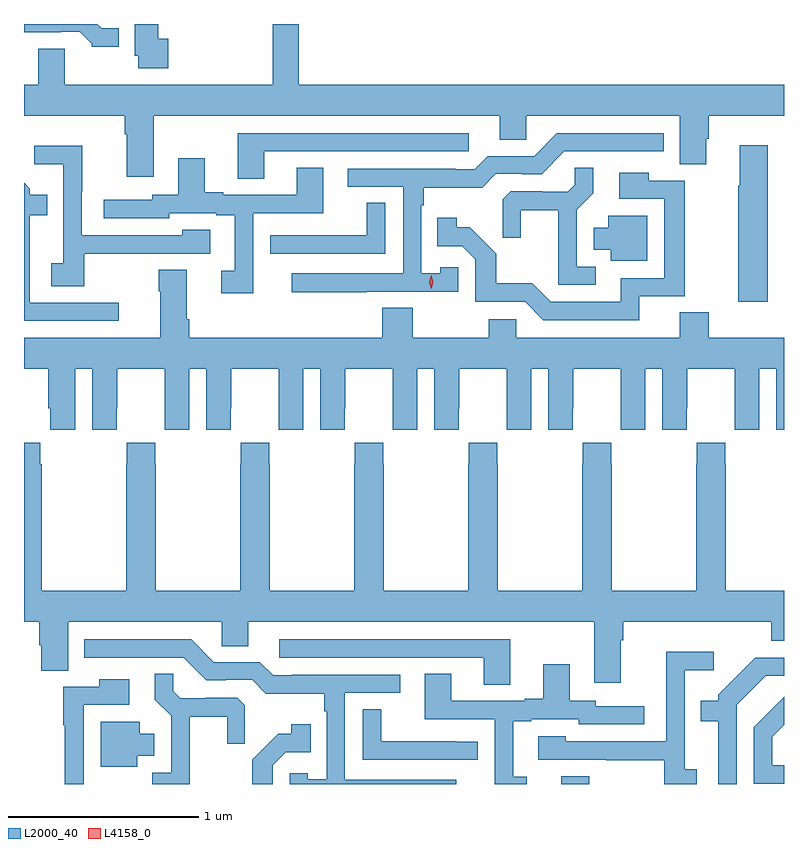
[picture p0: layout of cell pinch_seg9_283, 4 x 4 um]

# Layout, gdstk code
import gdstk
lib = gdstk.Library(unit=1e-6, precision=1e-09)
def R(c, l, rs):  # rectangles x0, y0, x1, y1
    for r in rs: c.add(gdstk.rectangle(r[:2], r[2:], *l))
def P(c, l, *ps):  # polygons
    for p in ps: c.add(gdstk.Polygon(p, *l))
L2000_40 = (2000, 40)
L4158_0 = (4158, 0)

pinch_seg9_283 = lib.new_cell('pinch_seg9_283')
R(pinch_seg9_283, L2000_40, [(480.317,1192.903,480.465,1192.945)])
P(pinch_seg9_283, L2000_40, [(478.247,1196.826),(478.195,1196.826),(478.195,1196.903),(478.073,1196.903),(478.073,1196.736),(478.09,1196.736),(478.09,1196.67),(478.247,1196.67)],
  [(478.171,1196.42),(479.993,1196.42),(479.993,1196.293),(480.132,1196.293),(480.132,1196.42),(480.941,1196.42),(480.941,1196.164),(481.081,1196.164),(481.081,1196.298),(481.094,1196.298),(481.094,1196.42),(481.489,1196.42),(481.489,1196.584),(478.934,1196.584),(478.934,1196.903),(478.798,1196.903),(478.798,1196.584),(477.703,1196.584),(477.703,1196.774),(477.563,1196.774),(477.563,1196.584),(477.489,1196.584),(477.489,1196.42),(478.019,1196.42),(478.019,1196.324),(478.031,1196.324),(478.031,1196.1),(478.171,1196.1)],
  [(477.988,1196.88),(477.897,1196.88),(477.874,1196.903),(477.489,1196.903),(477.489,1196.859),(477.683,1196.859),(477.683,1196.862),(477.782,1196.862),(477.846,1196.798),(477.846,1196.783),(477.988,1196.783)],
  [(478.753,1196.232),(479.83,1196.232),(479.83,1196.328),(478.613,1196.328),(478.613,1196.089),(478.753,1196.089)],
  [(479.291,1195.494),(479.775,1195.494),(479.775,1195.623),(479.679,1195.623),(479.679,1195.591),(479.58,1195.591),(479.58,1195.949),(479.593,1195.949),(479.593,1196.042),(479.9,1196.042),(479.973,1196.115),(480.112,1196.115),(480.112,1196.112),(480.213,1196.112),(480.333,1196.232),(480.856,1196.232),(480.856,1196.328),(480.294,1196.328),(480.174,1196.208),(479.931,1196.208),(479.862,1196.139),(479.762,1196.139),(479.762,1196.142),(479.193,1196.142),(479.193,1196.046),(479.484,1196.046),(479.484,1195.59),(478.899,1195.59),(478.899,1195.492),(479.291,1195.492)],
  [(481.403,1196.266),(481.256,1196.266),(481.256,1196.053),(481.249,1196.053),(481.249,1195.44),(481.403,1195.44)],
  [(477.805,1195.693),(478.109,1195.693),(478.109,1195.695),(478.468,1195.695),(478.468,1195.819),(478.323,1195.819),(478.323,1195.791),(477.792,1195.791),(477.792,1196.024),(477.795,1196.024),(477.795,1196.263),(477.543,1196.263),(477.543,1196.165),(477.696,1196.165),(477.696,1195.644),(477.633,1195.644),(477.633,1195.522),(477.805,1195.522)],
  [(478.695,1195.908),(479.065,1195.908),(479.065,1196.147),(478.925,1196.147),(478.925,1196.004),(478.537,1196.004),(478.537,1196.017),(478.441,1196.017),(478.441,1196.197),(478.301,1196.197),(478.301,1196.004),(478.164,1196.004),(478.164,1195.977),(477.909,1195.977),(477.909,1195.881),(478.254,1195.881),(478.254,1195.908),(478.502,1195.908),(478.502,1195.896),(478.598,1195.896),(478.598,1195.605),(478.527,1195.605),(478.527,1195.485),(478.695,1195.485)],
  [(480.499,1195.626),(480.399,1195.626),(480.399,1195.925),(480.485,1196.011),(480.485,1196.147),(480.387,1196.147),(480.387,1196.056),(480.35,1196.019),(480.216,1196.019),(480.216,1196.022),(480.051,1196.022),(480.01,1195.981),(480.01,1195.779),(480.104,1195.779),(480.104,1195.922),(480.302,1195.922),(480.302,1195.53),(480.499,1195.53)],
  [(480.728,1195.47),(480.967,1195.47),(480.967,1196.079),(480.777,1196.079),(480.777,1196.119),(480.621,1196.119),(480.621,1195.983),(480.858,1195.983),(480.858,1195.566),(480.629,1195.566),(480.629,1195.44),(480.261,1195.44),(480.163,1195.539),(479.974,1195.539),(479.974,1195.694),(479.836,1195.832),(479.766,1195.832),(479.766,1195.882),(479.665,1195.882),(479.665,1195.734),(479.796,1195.734),(479.865,1195.665),(479.865,1195.44),(480.126,1195.44),(480.222,1195.344),(480.728,1195.344)],
  [(477.988,1195.437),(477.52,1195.437),(477.52,1195.896),(477.611,1195.896),(477.611,1196.005),(477.519,1196.005),(477.519,1196.037),(477.489,1196.067),(477.489,1195.341),(477.988,1195.341)],
  [(479.391,1195.961),(479.293,1195.961),(479.293,1195.791),(478.897,1195.791),(478.897,1195.79),(478.785,1195.79),(478.785,1195.695),(479.391,1195.695)],
  [(480.769,1195.894),(480.563,1195.894),(480.563,1195.831),(480.488,1195.831),(480.488,1195.715),(480.578,1195.715),(480.578,1195.658),(480.769,1195.658)],
  [(478.358,1195.348),(478.345,1195.348),(478.345,1195.609),(478.198,1195.609),(478.198,1195.496),(478.205,1195.496),(478.205,1195.252),(477.489,1195.252),(477.489,1195.088),(477.617,1195.088),(477.617,1194.88),(477.626,1194.88),(477.626,1194.768),(477.76,1194.768),(477.76,1195.088),(477.848,1195.088),(477.848,1194.768),(477.978,1194.768),(477.978,1194.88),(477.979,1194.88),(477.979,1195.088),(478.229,1195.088),(478.229,1194.88),(478.23,1194.88),(478.23,1194.768),(478.36,1194.768),(478.36,1195.088),(478.448,1195.088),(478.448,1194.768),(478.578,1194.768),(478.578,1194.88),(478.579,1194.88),(478.579,1195.088),(478.829,1195.088),(478.829,1194.88),(478.83,1194.88),(478.83,1194.768),(478.96,1194.768),(478.96,1195.088),(479.048,1195.088),(479.048,1194.768),(479.178,1194.768),(479.178,1194.88),(479.179,1194.88),(479.179,1195.088),(479.429,1195.088),(479.429,1194.88),(479.43,1194.88),(479.43,1194.768),(479.56,1194.768),(479.56,1195.088),(479.648,1195.088),(479.648,1194.768),(479.778,1194.768),(479.778,1194.88),(479.779,1194.88),(479.779,1195.088),(480.029,1195.088),(480.029,1194.88),(480.03,1194.88),(480.03,1194.768),(480.16,1194.768),(480.16,1195.088),(480.248,1195.088),(480.248,1194.768),(480.378,1194.768),(480.378,1194.88),(480.379,1194.88),(480.379,1195.088),(480.629,1195.088),(480.629,1194.88),(480.63,1194.88),(480.63,1194.768),(480.76,1194.768),(480.76,1195.088),(480.848,1195.088),(480.848,1194.768),(480.978,1194.768),(480.978,1194.88),(480.979,1194.88),(480.979,1195.088),(481.229,1195.088),(481.229,1194.88),(481.23,1194.88),(481.23,1194.768),(481.36,1194.768),(481.36,1195.088),(481.448,1195.088),(481.448,1194.768),(481.489,1194.768),(481.489,1195.252),(481.094,1195.252),(481.094,1195.385),(480.941,1195.385),(480.941,1195.252),(480.081,1195.252),(480.081,1195.35),(479.935,1195.35),(479.935,1195.252),(479.535,1195.252),(479.535,1195.409),(479.375,1195.409),(479.375,1195.252),(478.358,1195.252)],
  [(480.631,1193.66),(480.644,1193.66),(480.644,1193.756),(481.421,1193.756),(481.421,1193.657),(481.489,1193.657),(481.489,1193.92),(481.182,1193.92),(481.182,1194.587),(481.179,1194.587),(481.179,1194.7),(481.029,1194.7),(481.029,1194.587),(481.027,1194.587),(481.027,1193.92),(480.582,1193.92),(480.582,1194.587),(480.579,1194.587),(480.579,1194.7),(480.429,1194.7),(480.429,1194.587),(480.427,1194.587),(480.427,1193.92),(479.982,1193.92),(479.982,1194.587),(479.979,1194.587),(479.979,1194.7),(479.829,1194.7),(479.829,1194.587),(479.827,1194.587),(479.827,1193.92),(479.382,1193.92),(479.382,1194.587),(479.379,1194.587),(479.379,1194.7),(479.229,1194.7),(479.229,1194.587),(479.227,1194.587),(479.227,1193.92),(478.782,1193.92),(478.782,1194.587),(478.779,1194.587),(478.779,1194.7),(478.629,1194.7),(478.629,1194.587),(478.627,1194.587),(478.627,1193.92),(478.182,1193.92),(478.182,1194.587),(478.179,1194.587),(478.179,1194.7),(478.029,1194.7),(478.029,1194.587),(478.027,1194.587),(478.027,1193.92),(477.582,1193.92),(477.582,1194.587),(477.575,1194.587),(477.575,1194.7),(477.489,1194.7),(477.489,1193.756),(477.569,1193.756),(477.569,1193.634),(477.581,1193.634),(477.581,1193.5),(477.721,1193.5),(477.721,1193.756),(478.53,1193.756),(478.53,1193.629),(478.669,1193.629),(478.669,1193.756),(480.491,1193.756),(480.491,1193.436),(480.631,1193.436)],
  [(479.764,1192.926),(479.178,1192.926),(479.178,1193.382),(479.47,1193.382),(479.47,1193.478),(478.9,1193.478),(478.9,1193.475),(478.8,1193.475),(478.731,1193.544),(478.488,1193.544),(478.368,1193.664),(477.806,1193.664),(477.806,1193.568),(478.329,1193.568),(478.449,1193.448),(478.55,1193.448),(478.55,1193.451),(478.689,1193.451),(478.762,1193.378),(479.07,1193.378),(479.07,1193.285),(479.082,1193.285),(479.082,1192.927),(478.983,1192.927),(478.983,1192.959),(478.887,1192.959),(478.887,1192.903),(479.764,1192.903)],
  [(480.049,1193.664),(478.833,1193.664),(478.833,1193.568),(479.909,1193.568),(479.909,1193.425),(480.049,1193.425)],
  [(481.03,1192.98),(480.966,1192.98),(480.966,1193.501),(481.12,1193.501),(481.12,1193.599),(480.868,1193.599),(480.868,1193.36),(480.87,1193.36),(480.87,1193.127),(480.339,1193.127),(480.339,1193.155),(480.195,1193.155),(480.195,1193.031),(480.553,1193.031),(480.553,1193.029),(480.858,1193.029),(480.858,1192.903),(481.03,1192.903)],
  [(481.239,1193.319),(481.392,1193.472),(481.489,1193.472),(481.489,1193.568),(481.338,1193.568),(481.143,1193.373),(481.143,1193.341),(481.051,1193.341),(481.051,1193.232),(481.142,1193.232),(481.142,1192.903),(481.239,1192.903)],
  [(480.136,1192.941),(480.064,1192.941),(480.064,1193.232),(480.16,1193.232),(480.16,1193.244),(480.408,1193.244),(480.408,1193.217),(480.754,1193.217),(480.754,1193.313),(480.498,1193.313),(480.498,1193.34),(480.361,1193.34),(480.361,1193.533),(480.221,1193.533),(480.221,1193.353),(480.125,1193.353),(480.125,1193.34),(479.737,1193.34),(479.737,1193.483),(479.597,1193.483),(479.597,1193.244),(479.967,1193.244),(479.967,1192.903),(480.136,1192.903)],
  [(478.361,1193.258),(478.558,1193.258),(478.558,1193.115),(478.652,1193.115),(478.652,1193.317),(478.611,1193.358),(478.446,1193.358),(478.446,1193.355),(478.312,1193.355),(478.275,1193.392),(478.275,1193.483),(478.177,1193.483),(478.177,1193.347),(478.263,1193.261),(478.263,1192.962),(478.164,1192.962),(478.164,1192.903),(478.361,1192.903)],
  [(477.804,1193.319),(478.042,1193.319),(478.042,1193.455),(477.886,1193.455),(477.886,1193.415),(477.696,1193.415),(477.696,1193.212),(477.703,1193.212),(477.703,1192.903),(477.804,1192.903)],
  [(481.489,1193.002),(481.426,1193.002),(481.426,1193.152),(481.489,1193.215),(481.489,1193.363),(481.329,1193.203),(481.329,1192.905),(481.489,1192.905)],
  [(479.878,1193.126),(479.765,1193.126),(479.765,1193.127),(479.37,1193.127),(479.37,1193.297),(479.271,1193.297),(479.271,1193.031),(479.878,1193.031)],
  [(478.084,1193.051),(478.174,1193.051),(478.174,1193.167),(478.099,1193.167),(478.099,1193.23),(477.893,1193.23),(477.893,1192.994),(478.084,1192.994)],
  [(478.797,1193.001),(478.866,1193.07),(478.997,1193.07),(478.997,1193.218),(478.896,1193.218),(478.896,1193.168),(478.826,1193.168),(478.689,1193.03),(478.689,1192.903),(478.797,1192.903)])
P(pinch_seg9_283, L4158_0, [(479.633,1195.509),(479.633,1195.51),(479.623,1195.545),(479.633,1195.581),(479.633,1195.581),(479.633,1195.581),(479.643,1195.545),(479.633,1195.51)])

lib.write_gds('pinch_seg9_283.gds')
